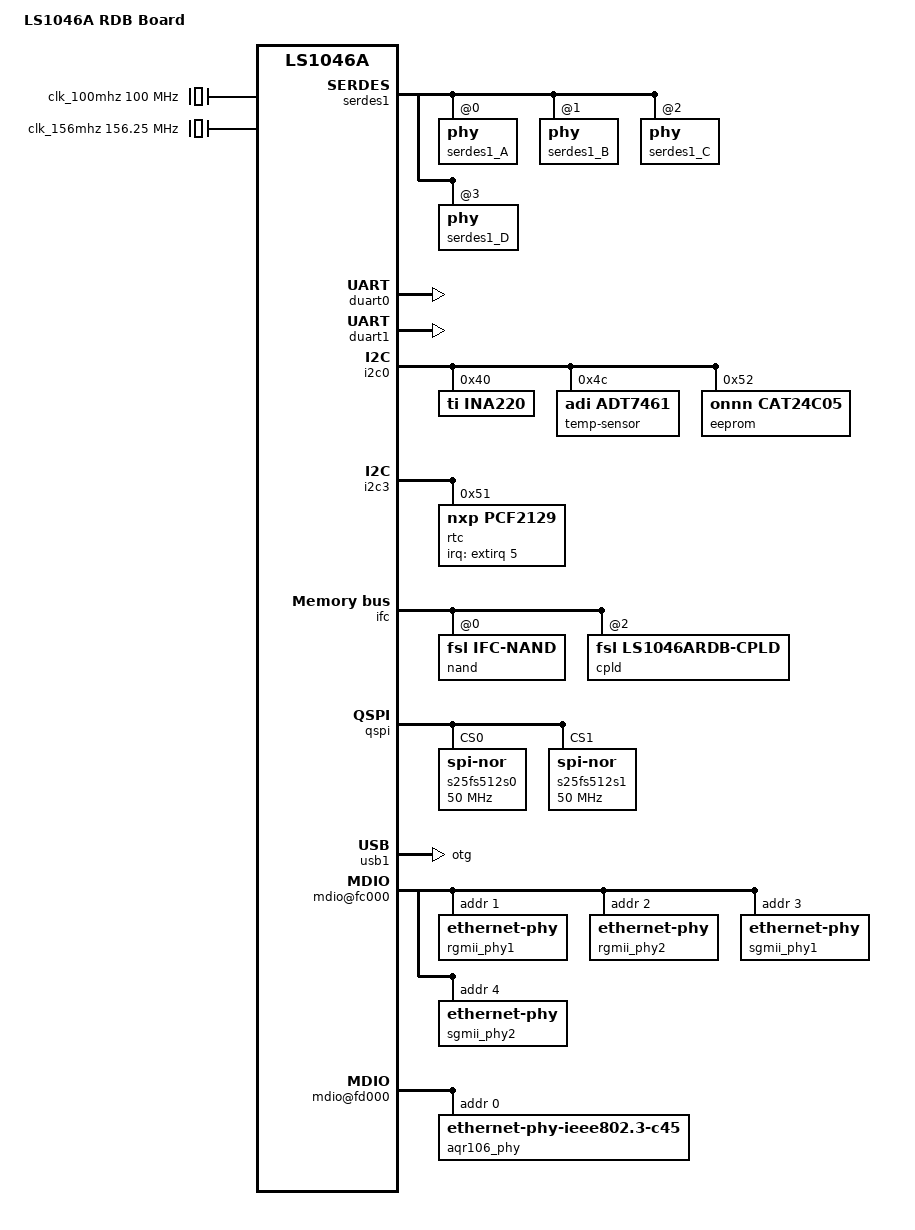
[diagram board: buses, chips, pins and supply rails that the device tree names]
// SPDX-License-Identifier: (GPL-2.0+ OR MIT)
/*
 * Device Tree Include file for Freescale Layerscape-1046A family SoC.
 *
 * Copyright 2016 Freescale Semiconductor, Inc.
 * Copyright 2019-2020 NXP
 *
 * Mingkai Hu <mingkai.hu@nxp.com>
 */

/dts-v1/;

#include <dt-bindings/phy/phy.h>

#include "fsl-ls1046a.dtsi"

/ {
	model = "LS1046A RDB Board";
	compatible = "fsl,ls1046a-rdb", "fsl,ls1046a";

	aliases {
		serial0 = &duart0;
		serial1 = &duart1;
		serial2 = &duart2;
		serial3 = &duart3;
	};

	chosen {
		stdout-path = "serial0:115200n8";
	};

	clocks {
		clk_100mhz: clock-100mhz {
			compatible = "fixed-clock";
			#clock-cells = <0>;
			clock-frequency = <100000000>;
		};

		clk_156mhz: clock-156mhz {
			compatible = "fixed-clock";
			#clock-cells = <0>;
			clock-frequency = <156250000>;
		};
	};
};

&serdes1 {
	clocks = <&clk_100mhz>, <&clk_156mhz>;
	clock-names = "ref0", "ref1";
	status = "okay";

	/*
	 * XXX: Lane A uses pins SD1_RX3_P/N! That is, the lane numbers and pin
	 * numbers are _reversed_. In addition, the PCCR documentation is
	 * _inconsistent_ in its usage of these terms!
	 *
	 * PCCR "Lane 0" refers to...
	 * ==== =====================
	 *    0 Lane A
	 *    2 Lane A
	 *    8 Lane A
	 *    9 Lane A
	 *    B Lane D!
	 */
	serdes1_A: phy@0 {
		#phy-cells = <0>;
		reg = <0>;

		/* SGMII.6 */
		sgmii-0 {
			fsl,pccr = <0x8>;
			fsl,index = <0>;
			fsl,cfg = <0x1>;
			fsl,type = <PHY_TYPE_SGMII>;
		};
	};

	serdes1_B: phy@1 {
		#phy-cells = <0>;
		reg = <1>;

		/* SGMII.5 */
		sgmii-1 {
			fsl,pccr = <0x8>;
			fsl,index = <1>;
			fsl,cfg = <0x1>;
			fsl,type = <PHY_TYPE_2500BASEX>;
		};
	};

	serdes1_C: phy@2 {
		#phy-cells = <0>;
		reg = <2>;

		/* SGMII.10 */
		sgmii-2 {
			fsl,pccr = <0x8>;
			fsl,index = <2>;
			fsl,cfg = <0x1>;
			fsl,type = <PHY_TYPE_2500BASEX>;
		};

		/* XFI.10 */
		xfi-0 {
			fsl,pccr = <0xb>;
			fsl,index = <0>;
			fsl,cfg = <0x2>;
			fsl,type = <PHY_TYPE_10GBASER>;
		};
	};

	serdes1_D: phy@3 {
		#phy-cells = <0>;
		reg = <3>;

		/* SGMII.9 */
		sgmii-3 {
			fsl,pccr = <0x8>;
			fsl,index = <3>;
			fsl,cfg = <0x1>;
			fsl,type = <PHY_TYPE_2500BASEX>;
		};

		/* XFI.9 */
		xfi-1 {
			fsl,pccr = <0xb>;
			fsl,index = <1>;
			fsl,cfg = <0x1>;
			fsl,type = <PHY_TYPE_10GBASER>;
		};
	};
};


&duart0 {
	status = "okay";
};

&duart1 {
	status = "okay";
};

&esdhc {
	mmc-hs200-1_8v;
	sd-uhs-sdr104;
	sd-uhs-sdr50;
	sd-uhs-sdr25;
	sd-uhs-sdr12;
};

&i2c0 {
	status = "okay";

	ina220@40 {
		compatible = "ti,ina220";
		reg = <0x40>;
		shunt-resistor = <1000>;
	};

	temp-sensor@4c {
		compatible = "adi,adt7461";
		reg = <0x4c>;
	};

	eeprom@52 {
		compatible = "onnn,cat24c05", "atmel,24c04";
		reg = <0x52>;
	};
};

&i2c3 {
	status = "okay";

	rtc@51 {
		compatible = "nxp,pcf2129";
		reg = <0x51>;
		/* IRQ_RTC_B -> IRQ05, active low */
		interrupts-extended = <&extirq 5 IRQ_TYPE_LEVEL_LOW>;
	};
};

&ifc {
	#address-cells = <2>;
	#size-cells = <1>;
	/* NAND Flashe and CPLD on board */
	ranges = <0x0 0x0 0x0 0x7e800000 0x00010000
		  0x2 0x0 0x0 0x7fb00000 0x00000100>;
	status = "okay";

	nand@0,0 {
		compatible = "fsl,ifc-nand";
		#address-cells = <1>;
		#size-cells = <1>;
		reg = <0x0 0x0 0x10000>;
	};

	cpld: board-control@2,0 {
		compatible = "fsl,ls1046ardb-cpld";
		reg = <0x2 0x0 0x0000100>;
	};
};

&qspi {
	status = "okay";

	s25fs512s0: flash@0 {
		compatible = "jedec,spi-nor";
		#address-cells = <1>;
		#size-cells = <1>;
		spi-max-frequency = <50000000>;
		spi-rx-bus-width = <4>;
		spi-tx-bus-width = <1>;
		reg = <0>;
	};

	s25fs512s1: flash@1 {
		compatible = "jedec,spi-nor";
		#address-cells = <1>;
		#size-cells = <1>;
		spi-max-frequency = <50000000>;
		spi-rx-bus-width = <4>;
		spi-tx-bus-width = <1>;
		reg = <1>;
	};
};

&usb1 {
	dr_mode = "otg";
};

#include "fsl-ls1046-post.dtsi"

&fman0 {
	ethernet@e4000 {
		phy-handle = <&rgmii_phy1>;
		phy-connection-type = "rgmii-id";
	};

	ethernet@e6000 {
		phy-handle = <&rgmii_phy2>;
		phy-connection-type = "rgmii-id";
	};

	ethernet@e8000 {
		phy-handle = <&sgmii_phy1>;
		phy-connection-type = "sgmii";
		phys = <&serdes1_B>;
		phy-names = "serdes";
	};

	ethernet@ea000 {
		phy-handle = <&sgmii_phy2>;
		phy-connection-type = "sgmii";
		phys = <&serdes1_A>;
		phy-names = "serdes";
	};

	ethernet@f0000 { /* 10GEC1 */
		phy-handle = <&aqr106_phy>;
		phy-connection-type = "xgmii";
		phys = <&serdes1_D>;
		phy-names = "serdes";
	};

	ethernet@f2000 { /* 10GEC2 */
		fixed-link = <0 1 1000 0 0>;
		phy-connection-type = "xgmii";
		phys = <&serdes1_C>;
		phy-names = "serdes";
	};

	mdio@fc000 {
		rgmii_phy1: ethernet-phy@1 {
			reg = <0x1>;
		};

		rgmii_phy2: ethernet-phy@2 {
			reg = <0x2>;
		};

		sgmii_phy1: ethernet-phy@3 {
			reg = <0x3>;
		};

		sgmii_phy2: ethernet-phy@4 {
			reg = <0x4>;
		};
	};

	mdio@fd000 {
		aqr106_phy: ethernet-phy@0 {
			compatible = "ethernet-phy-ieee802.3-c45";
			interrupts = <0 131 4>;
			reg = <0x0>;
		};
	};
};
